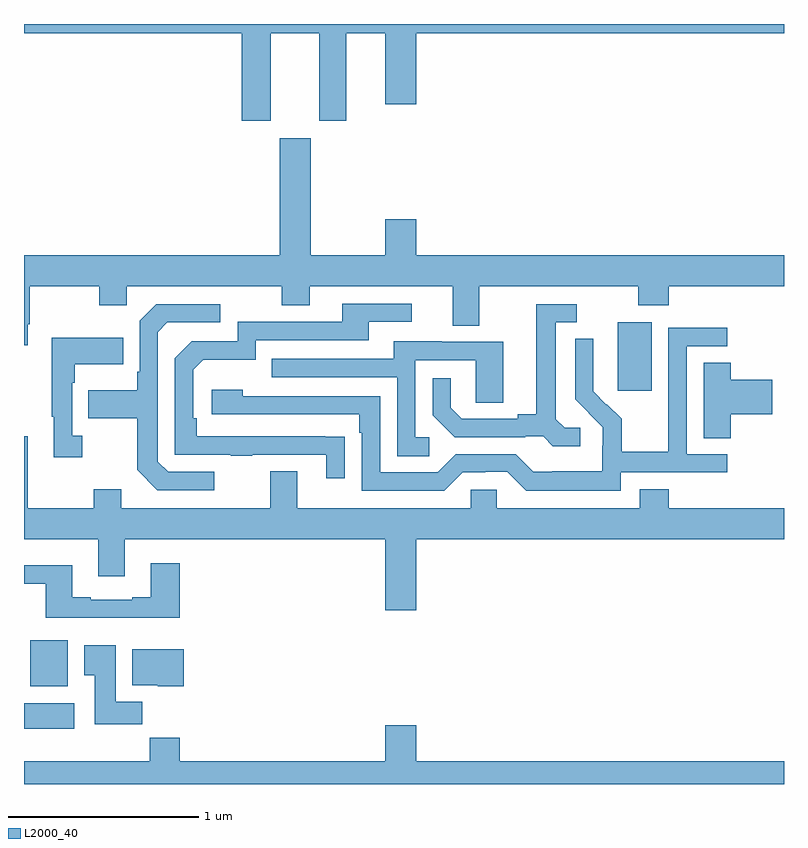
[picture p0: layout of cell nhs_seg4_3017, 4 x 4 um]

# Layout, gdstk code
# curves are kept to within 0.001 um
import gdstk
lib = gdstk.Library(unit=1e-6, precision=1e-09)
def R(c, l, rs):  # rectangles x0, y0, x1, y1
    for r in rs: c.add(gdstk.rectangle(r[:2], r[2:], *l))
def P(c, l, *ps):  # polygons
    for p in ps: c.add(gdstk.Polygon(p, *l))
L2000_40 = (2000, 40)

nhs_seg4_3017 = lib.new_cell('nhs_seg4_3017')
R(nhs_seg4_3017, L2000_40, [(271,761.192,271.264,761.326), (271.034,761.414,271.231,761.656), (274.124,762.969,274.303,763.33)])
P(nhs_seg4_3017, L2000_40, [(271,764.852),(272.147,764.852),(272.147,764.391),(272.299,764.391),(272.299,764.852),(272.555,764.852),(272.555,764.391),(272.695,764.391),(272.695,764.852),(272.9,764.852),(272.9,764.478),(273.064,764.478),(273.064,764.852),(275,764.852),(275,764.9),(271,764.9)],
  [(271.021,763.321),(271.029,763.321),(271.029,763.52),(271.396,763.52),(271.396,763.421),(271.542,763.421),(271.542,763.52),(272.356,763.52),(272.356,763.421),(272.503,763.421),(272.503,763.52),(273.257,763.52),(273.257,763.312),(273.397,763.312),(273.397,763.52),(274.234,763.52),(274.234,763.421),(274.394,763.421),(274.394,763.52),(275,763.52),(275,763.684),(273.064,763.684),(273.064,763.873),(272.9,763.873),(272.9,763.684),(272.509,763.684),(272.509,764.299),(272.345,764.299),(272.345,763.684),(271,763.684),(271,763.209),(271.021,763.209)],
  [(272.687,762.728),(271.91,762.729),(271.91,762.826),(271.89,762.826),(271.89,763.08),(271.943,763.133),(272.22,763.133),(272.22,763.236),(272.815,763.236),(272.815,763.332),(273.04,763.332),(273.04,763.428),(272.675,763.428),(272.675,763.332),(272.124,763.332),(272.124,763.23),(271.884,763.23),(271.794,763.14),(271.794,762.633),(272.089,762.633),(272.089,762.628),(272.201,762.628),(272.201,762.633),(272.591,762.633),(272.591,762.51),(272.687,762.51)],
  [(272.002,762.543),(271.758,762.543),(271.704,762.597),(271.704,763.278),(271.755,763.329),(272.032,763.329),(272.032,763.425),(271.695,763.425),(271.608,763.338),(271.608,763.069),(271.596,763.069),(271.596,762.973),(271.339,762.973),(271.339,762.826),(271.596,762.826),(271.596,762.553),(271.701,762.447),(272.002,762.447)],
  [(273.928,762.774),(273.846,762.774),(273.799,762.821),(273.799,763.329),(273.91,763.329),(273.91,763.425),(273.695,763.425),(273.695,762.845),(273.599,762.845),(273.599,762.822),(273.304,762.822),(273.247,762.879),(273.247,763.036),(273.15,763.036),(273.15,762.842),(273.266,762.726),(273.638,762.726),(273.638,762.729),(273.732,762.729),(273.784,762.677),(273.928,762.677)],
  [(274.14,762.54),(274.702,762.54),(274.702,762.636),(274.488,762.636),(274.488,763.203),(274.702,763.203),(274.702,763.302),(274.392,763.302),(274.392,762.872),(274.39,762.872),(274.39,762.649),(274.145,762.649),(274.145,762.823),(274.068,762.9),(274.065,762.897),(273.995,762.968),(273.996,763.244),(273.9,763.244),(273.9,762.926),(274.046,762.778),(274.046,762.681),(274.044,762.681),(274.044,762.547),(273.781,762.547),(273.781,762.543),(273.681,762.543),(273.588,762.636),(273.273,762.636),(273.177,762.54),(272.874,762.54),(272.874,762.942),(272.15,762.942),(272.15,762.976),(271.989,762.976),(271.989,762.846),(272.765,762.846),(272.765,762.749),(272.778,762.749),(272.778,762.444),(273.213,762.444),(273.309,762.54),(273.428,762.54),(273.428,762.543),(273.543,762.543),(273.643,762.443),(274.14,762.443)],
  [(271.306,762.734),(271.254,762.734),(271.254,763.013),(271.267,763.013),(271.267,763.109),(271.523,763.109),(271.523,763.249),(271.146,763.249),(271.146,762.833),(271.157,762.833),(271.157,762.621),(271.306,762.621)],
  [(273.133,762.726),(273.06,762.726),(273.06,763.131),(273.378,763.131),(273.378,762.907),(273.523,762.907),(273.523,763.227),(273.199,763.227),(273.199,763.231),(272.945,763.231),(272.945,763.137),(272.305,763.137),(272.305,763.041),(272.964,763.041),(272.964,762.625),(273.133,762.625)],
  [(274.721,762.845),(274.939,762.845),(274.939,763.028),(274.721,763.028),(274.721,763.118),(274.577,763.118),(274.577,762.721),(274.721,762.721)],
  [(273.064,762.188),(275,762.188),(275,762.352),(274.394,762.352),(274.394,762.451),(274.241,762.451),(274.241,762.352),(273.489,762.352),(273.489,762.45),(273.351,762.45),(273.351,762.352),(272.437,762.352),(272.437,762.547),(272.297,762.547),(272.297,762.352),(271.513,762.352),(271.513,762.451),(271.366,762.451),(271.366,762.352),(271.021,762.352),(271.021,762.73),(271,762.73),(271,762.188),(271.391,762.188),(271.391,761.994),(271.531,761.994),(271.531,762.188),(272.9,762.188),(272.9,761.814),(273.064,761.814)],
  [(271.82,762.061),(271.667,762.061),(271.667,761.884),(271.571,761.884),(271.571,761.871),(271.351,761.871),(271.351,761.884),(271.255,761.884),(271.255,762.052),(271,762.052),(271,761.955),(271.115,761.955),(271.115,761.774),(271.82,761.774)],
  [(271.622,761.332),(271.483,761.332),(271.483,761.629),(271.316,761.629),(271.316,761.473),(271.373,761.473),(271.373,761.214),(271.622,761.214)],
  [(271.84,761.608),(271.571,761.608),(271.571,761.42),(271.704,761.42),(271.704,761.414),(271.84,761.414)],
  [(275,761.02),(273.064,761.02),(273.064,761.209),(272.9,761.209),(272.9,761.02),(271.82,761.02),(271.82,761.144),(271.663,761.144),(271.663,761.02),(271,761.02),(271,760.9),(275,760.9)])

lib.write_gds('nhs_seg4_3017.gds')
